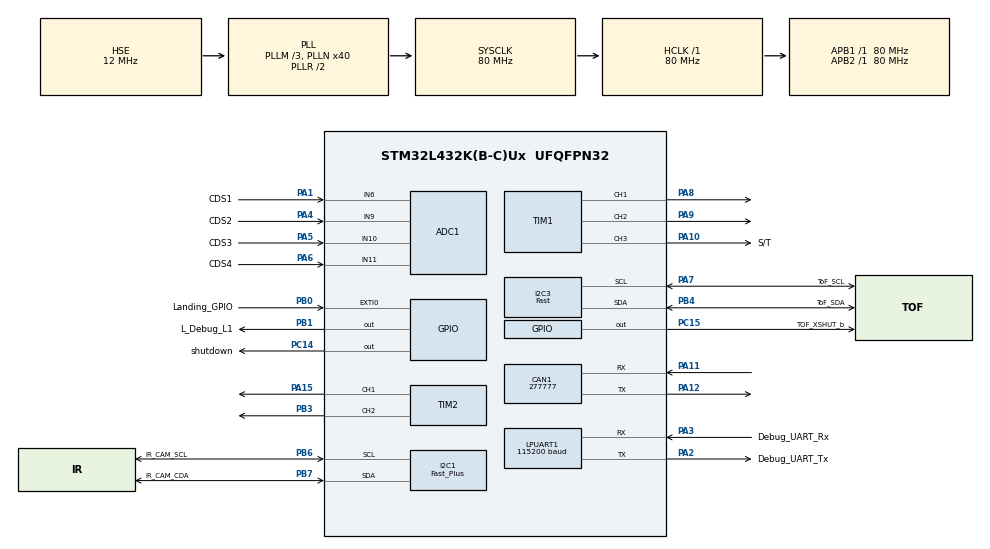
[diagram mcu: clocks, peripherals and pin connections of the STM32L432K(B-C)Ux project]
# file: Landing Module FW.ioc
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ADC1.Channel-0\#ChannelRegularConversion=ADC_CHANNEL_6
ADC1.NbrOfConversionFlag=1
ADC1.OffsetNumber-0\#ChannelRegularConversion=ADC_OFFSET_NONE
ADC1.Rank-0\#ChannelRegularConversion=1
ADC1.SamplingTime-0\#ChannelRegularConversion=ADC_SAMPLETIME_2CYCLES_5
ADC1.master=1
CAN1.BS1=CAN_BS1_16TQ
CAN1.CalculateBaudRate=277777
CAN1.CalculateTimeBit=3600
CAN1.CalculateTimeQuantum=200.0
I2C1.I2C_Speed_Mode=I2C_Fast_Plus
I2C1.Timing=0x00300F33
I2C3.I2C_Rise_Time=300
I2C3.I2C_Speed_Mode=I2C_Fast
I2C3.Timing=0x10F0143C
LPUART1.BaudRate=115200
LPUART1.WordLength=UART_WORDLENGTH_8B
Mcu.Family=STM32L4
Mcu.Name=STM32L432K(B-C)Ux
Mcu.Package=UFQFPN32
NVIC.PriorityGroup=NVIC_PRIORITYGROUP_4
PA0.Mode=HSE-External-Clock-Source-for-LittleOrca
PA0.Signal=RCC_CK_IN
PA1.GPIO_Label=CDS1
PA1.Signal=ADCx_IN6
PA10.GPIO_Label=S/T
PA10.Signal=S_TIM1_CH3
PA11.Mode=CAN_Activate
PA11.Signal=CAN1_RX
PA12.Mode=CAN_Activate
PA12.Signal=CAN1_TX
PA13\ (JTMS-SWDIO).Mode=Serial_Wire
PA13\ (JTMS-SWDIO).Signal=SYS_JTMS-SWDIO
PA14\ (JTCK-SWCLK).Mode=Serial_Wire
PA14\ (JTCK-SWCLK).Signal=SYS_JTCK-SWCLK
PA15\ (JTDI).Signal=S_TIM2_CH1
PA2.GPIO_Label=Debug_UART_Tx
PA2.Mode=Asynchronous
PA2.Signal=LPUART1_TX
PA3.GPIO_Label=Debug_UART_Rx
PA3.Mode=Asynchronous
PA3.Signal=LPUART1_RX
PA4.GPIO_Label=CDS2
PA4.Signal=ADCx_IN9
PA5.GPIO_Label=CDS3
PA5.Signal=ADCx_IN10
PA6.GPIO_Label=CDS4
PA6.Signal=ADCx_IN11
PA7.GPIO_Label=ToF_SCL
PA7.Mode=I2C
PA7.Signal=I2C3_SCL
PA8.Signal=S_TIM1_CH1
PA9.Signal=S_TIM1_CH2
PB0.GPIO_Label=Landing_GPIO
PB0.Signal=GPXTI0
PB1.GPIO_Label=L_Debug_L1
PB1.Signal=GPIO_Output
PB3\ (JTDO-TRACESWO).Signal=S_TIM2_CH2
PB4\ (NJTRST).GPIO_Label=ToF_SDA
PB4\ (NJTRST).Mode=I2C
PB4\ (NJTRST).Signal=I2C3_SDA
PB6.GPIO_Label=IR_CAM_SCL
PB6.Mode=I2C
PB6.Signal=I2C1_SCL
PB7.GPIO_Label=IR_CAM_CDA
PB7.Mode=I2C
PB7.Signal=I2C1_SDA
PC14-OSC32_IN\ (PC14).GPIO_Label=shutdown
PC14-OSC32_IN\ (PC14).Signal=GPIO_Output
PC15-OSC32_OUT\ (PC15).GPIO_Label=TOF_XSHUT_b
PC15-OSC32_OUT\ (PC15).Signal=GPIO_Output
ProjectManager.HeapSize=0x200
ProjectManager.StackSize=0x400
ProjectManager.TargetToolchain=STM32CubeIDE
RCC.ADCFreq_Value=32000000
RCC.AHBFreq_Value=80000000
RCC.APB1Freq_Value=80000000
RCC.APB1TimFreq_Value=80000000
RCC.APB2Freq_Value=80000000
RCC.APB2TimFreq_Value=80000000
RCC.CortexFreq_Value=80000000
RCC.HCLKFreq_Value=80000000
RCC.HSE_VALUE=12000000
RCC.HSI48_VALUE=48000000
RCC.HSI_VALUE=16000000
RCC.LSE_VALUE=32768
RCC.MSI_VALUE=4000000
RCC.PLLM=3
RCC.PLLN=40
RCC.PLLSAI1N=16
RCC.PLLSourceVirtual=RCC_PLLSOURCE_HSE
RCC.SYSCLKFreq_VALUE=80000000
RCC.SYSCLKSource=RCC_SYSCLKSOURCE_PLLCLK
RCC.USBFreq_Value=32000000
RCC.VCOOutputFreq_Value=160000000
SH.ADCx_IN10.0=ADC1_IN10,IN10-Single-Ended
SH.ADCx_IN11.0=ADC1_IN11,IN11-Single-Ended
SH.ADCx_IN6.0=ADC1_IN6,IN6-Single-Ended
SH.ADCx_IN9.0=ADC1_IN9,IN9-Single-Ended
SH.S_TIM1_CH1.0=TIM1_CH1,PWM Generation1 CH1
SH.S_TIM1_CH2.0=TIM1_CH2,PWM Generation2 CH2
SH.S_TIM1_CH3.0=TIM1_CH3,PWM Generation3 CH3
SH.S_TIM2_CH1.0=TIM2_CH1,PWM Generation1 CH1
SH.S_TIM2_CH2.0=TIM2_CH2,PWM Generation2 CH2
TIM1.Channel-PWM\ Generation1\ CH1=TIM_CHANNEL_1
TIM1.Channel-PWM\ Generation2\ CH2=TIM_CHANNEL_2
TIM1.Channel-PWM\ Generation3\ CH3=TIM_CHANNEL_3
TIM2.Channel-PWM\ Generation1\ CH1=TIM_CHANNEL_1
TIM2.Channel-PWM\ Generation2\ CH2=TIM_CHANNEL_2
VP_TIM1_VS_ClockSourceINT.Mode=Internal
VP_TIM2_VS_ClockSourceINT.Mode=Internal
board=custom

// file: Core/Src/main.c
/* USER CODE BEGIN Header */
/**
  ******************************************************************************
  * @file           : main.c
  * @brief          : Main program body
  ******************************************************************************
  * @attention
  *
  * Copyright (c) 2023 STMicroelectronics.
  * All rights reserved.
  *
  * This software is licensed under terms that can be found in the LICENSE file
  * in the root directory of this software component.
  * If no LICENSE file comes with this software, it is provided AS-IS.
  *
  ******************************************************************************
  */
/* USER CODE END Header */
#include "main.h"
#include "adc.h"
#include "can.h"
#include "i2c.h"
#include "usart.h"
#include "tim.h"
#include "gpio.h"

/* USER CODE BEGIN Includes */
#include "MLX90640.h"
#include "MLX90640_API.h"

//#include "VL53L1X_API.h"
//#include "VL53l1X_calibration.h"
#include "X-NUCLEO-53L1A1.h"

#include "stdio.h"
#include "stdlib.h"

#define VL53L1X_I2C_ADDR 0x52

/* USER CODE END Includes */

/* USER CODE BEGIN PTD */
//I2C_HandleTypeDef hi2c3;
uint16_t	dev=0x52;
int status=0;
volatile int IntCount;
#define isInterrupt 1 /* If isInterrupt = 1 then device working in interrupt mode, else device working in polling mode */

/* USER CODE END PTD */

/* USER CODE BEGIN PV */
int _write(int file, char* p, int len){
	HAL_UART_Transmit(&hlpuart1, p, len, 10);
	return len;
}

/* USER CODE END PV */

void SystemClock_Config(void);

int main(void)
{
  /* USER CODE BEGIN 1 */
	uint8_t byteData, sensorState=0;
	uint16_t wordData;
	uint8_t ToFSensor = 1; // 0=Left, 1=Center(default), 2=Right
	uint16_t Distance;
	uint16_t SignalRate;
	uint16_t AmbientRate;
	uint16_t SpadNum;
	uint8_t RangeStatus;
	uint8_t dataReady;

  /* USER CODE END 1 */

  /* MCU Configuration--------------------------------------------------------*/

  /* Reset of all peripherals, Initializes the Flash interface and the Systick. */
  HAL_Init();

  /* Configure the system clock */
  SystemClock_Config();

  /* Initialize all configured peripherals */
  MX_GPIO_Init();
  MX_ADC1_Init();
  MX_CAN1_Init();
  MX_I2C1_Init();
  MX_I2C3_Init();
  MX_LPUART1_UART_Init();
  MX_TIM1_Init();
  MX_TIM2_Init();
  /* USER CODE BEGIN 2 */
//
  float mlx90640To[768];
  uint16_t eeMLX90640[832];
  paramsMLX90640 mlx90640;
  uint16_t mlx90640Frame[834];
  int status=0;

  Init_MLX90640_GPIO(hi2c1);

  MLX90640_SetRefreshRate(MLX90640_RATE_8HZ);
  MLX90640_SetResolution(MLX90640_RES16);
  MLX90640_SetPattern(MLX90640_CHESS);
  MLX90640_SetMode(MLX90640_DEFAULT);

  MLX90640_DumpEE(eeMLX90640);
  status = MLX90640_ExtractParameters(eeMLX90640, &mlx90640);

  /* USER CODE END 2 */

  /* Infinite loop */
  /* USER CODE BEGIN WHILE */
  while (1)
  {
	  status = MLX90640_GetFrameData(mlx90640Frame);

	  float Ta = MLX90640_GetTa(mlx90640Frame, &mlx90640);
	  float tr = Ta - 8;
	  float emissivity = 0.95;
	  MLX90640_CalculateTo(mlx90640Frame, &mlx90640, emissivity, tr, mlx90640To);

	  int i = 0;
	  int temp = 0;

	  for (int h = 0; h < 24; h++)
	  {
		  for (int w = 0; w < 32; w++)
		  {
			  temp = (int)mlx90640To[i];
			  i++;

			  char c = '&';

			  if (temp < 20) c = ' ';
			  else if (temp < 23) c = '.';
			  else if (temp < 25) c = '-';
			  else if (temp < 27) c = '*';
			  else if (temp < 29) c = '+';
			  else if (temp < 31) c = 'x';
			  else if (temp < 33) c = '%';
			  else if (temp < 35) c = '#';
			  else if (temp < 37) c = 'X';
			  printf("%c", c);
		  }
		  printf("\n");
	  }
	  printf("\n\n\n");

  }
    /* USER CODE END WHILE */

}

void SystemClock_Config(void)
{
  RCC_OscInitTypeDef RCC_OscInitStruct = {0};
  RCC_ClkInitTypeDef RCC_ClkInitStruct = {0};

  /** Configure the main internal regulator output voltage
  */
  if (HAL_PWREx_ControlVoltageScaling(PWR_REGULATOR_VOLTAGE_SCALE1) != HAL_OK)
  {
    Error_Handler();
  }

  /** Initializes the RCC Oscillators according to the specified parameters
  * in the RCC_OscInitTypeDef structure.
  */
  RCC_OscInitStruct.OscillatorType = RCC_OSCILLATORTYPE_HSE;
  RCC_OscInitStruct.HSEState = RCC_HSE_BYPASS;
  RCC_OscInitStruct.PLL.PLLState = RCC_PLL_ON;
  RCC_OscInitStruct.PLL.PLLSource = RCC_PLLSOURCE_HSE;
  RCC_OscInitStruct.PLL.PLLM = 3;
  RCC_OscInitStruct.PLL.PLLN = 40;
  RCC_OscInitStruct.PLL.PLLP = RCC_PLLP_DIV7;
  RCC_OscInitStruct.PLL.PLLQ = RCC_PLLQ_DIV2;
  RCC_OscInitStruct.PLL.PLLR = RCC_PLLR_DIV2;
  if (HAL_RCC_OscConfig(&RCC_OscInitStruct) != HAL_OK)
  {
    Error_Handler();
  }

  /** Initializes the CPU, AHB and APB buses clocks
  */
  RCC_ClkInitStruct.ClockType = RCC_CLOCKTYPE_HCLK|RCC_CLOCKTYPE_SYSCLK
                              |RCC_CLOCKTYPE_PCLK1|RCC_CLOCKTYPE_PCLK2;
  RCC_ClkInitStruct.SYSCLKSource = RCC_SYSCLKSOURCE_PLLCLK;
  RCC_ClkInitStruct.AHBCLKDivider = RCC_SYSCLK_DIV1;
  RCC_ClkInitStruct.APB1CLKDivider = RCC_HCLK_DIV1;
  RCC_ClkInitStruct.APB2CLKDivider = RCC_HCLK_DIV1;

  if (HAL_RCC_ClockConfig(&RCC_ClkInitStruct, FLASH_LATENCY_4) != HAL_OK)
  {
    Error_Handler();
  }
}

void Error_Handler(void)
{
  __disable_irq();
  while (1)
  {
  }
}
